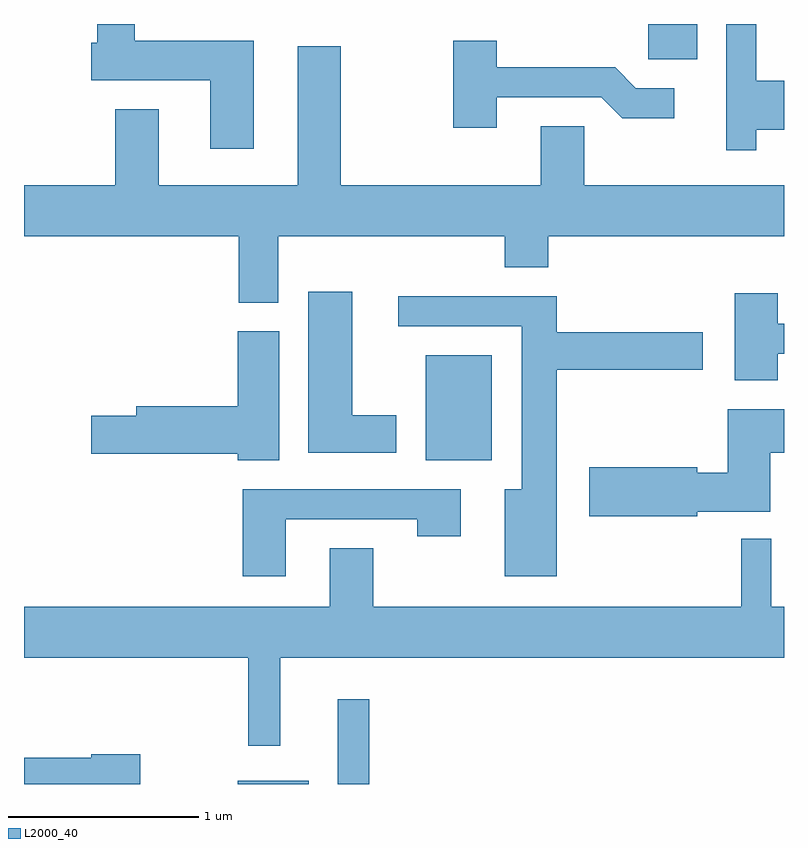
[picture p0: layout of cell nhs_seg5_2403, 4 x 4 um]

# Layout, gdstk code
import gdstk
lib = gdstk.Library(unit=1e-6, precision=1e-09)
def R(c, l, rs):  # rectangles x0, y0, x1, y1
    for r in rs: c.add(gdstk.rectangle(r[:2], r[2:], *l))
def P(c, l, *ps):  # polygons
    for p in ps: c.add(gdstk.Polygon(p, *l))
L2000_40 = (2000, 40)

nhs_seg5_2403 = lib.new_cell('nhs_seg5_2403')
R(nhs_seg5_2403, L2000_40, [(256.736,1516.072,257.109,1516.089), (257.261,1516.072,257.429,1516.518), (257.726,1517.776,258.074,1518.329), (258.896,1519.886,259.154,1520.072)])
P(nhs_seg5_2403, L2000_40, [(256.819,1519.984),(256.194,1519.984),(256.194,1520.072),(255.996,1520.072),(255.996,1519.974),(255.966,1519.974),(255.966,1519.776),(256.591,1519.776),(256.591,1519.416),(256.819,1519.416)],
  [(259.464,1519.516),(259.611,1519.516),(259.611,1519.774),(259.464,1519.774),(259.464,1520.072),(259.306,1520.072),(259.306,1519.408),(259.464,1519.408)],
  [(258.099,1519.686),(258.649,1519.686),(258.759,1519.576),(259.033,1519.576),(259.033,1519.734),(258.832,1519.734),(258.722,1519.844),(258.099,1519.844),(258.099,1519.984),(257.871,1519.984),(257.871,1519.526),(258.099,1519.526)],
  [(256.949,1518.956),(258.141,1518.956),(258.141,1518.791),(258.369,1518.791),(258.369,1518.956),(259.611,1518.956),(259.611,1519.224),(258.559,1519.224),(258.559,1519.534),(258.331,1519.534),(258.331,1519.224),(257.279,1519.224),(257.279,1519.954),(257.051,1519.954),(257.051,1519.224),(256.319,1519.224),(256.319,1519.624),(256.091,1519.624),(256.091,1519.224),(255.611,1519.224),(255.611,1518.956),(256.741,1518.956),(256.741,1518.606),(256.949,1518.606)],
  [(257.569,1518.014),(257.339,1518.014),(257.339,1518.664),(257.106,1518.664),(257.106,1517.816),(257.569,1517.816)],
  [(259.579,1518.336),(259.611,1518.336),(259.611,1518.494),(259.579,1518.494),(259.579,1518.654),(259.351,1518.654),(259.351,1518.196),(259.579,1518.196)],
  [(258.414,1518.251),(259.184,1518.251),(259.184,1518.449),(258.414,1518.449),(258.414,1518.639),(257.582,1518.639),(257.582,1518.481),(258.231,1518.481),(258.231,1517.624),(258.141,1517.624),(258.141,1517.166),(258.414,1517.166)],
  [(256.954,1518.454),(256.736,1518.454),(256.736,1518.059),(256.201,1518.059),(256.201,1518.009),(255.966,1518.009),(255.966,1517.811),(256.736,1517.811),(256.736,1517.776),(256.954,1517.776)],
  [(259.154,1517.506),(259.539,1517.506),(259.539,1517.816),(259.611,1517.816),(259.611,1518.044),(259.316,1518.044),(259.316,1517.709),(259.154,1517.709),(259.154,1517.739),(258.586,1517.739),(258.586,1517.481),(259.154,1517.481)],
  [(256.989,1517.466),(257.681,1517.466),(257.681,1517.376),(257.909,1517.376),(257.909,1517.624),(256.761,1517.624),(256.761,1517.166),(256.989,1517.166)],
  [(256.959,1516.736),(259.611,1516.736),(259.611,1517.004),(259.544,1517.004),(259.544,1517.363),(259.386,1517.363),(259.386,1517.004),(257.449,1517.004),(257.449,1517.314),(257.221,1517.314),(257.221,1517.004),(255.611,1517.004),(255.611,1516.736),(256.791,1516.736),(256.791,1516.273),(256.959,1516.273)],
  [(256.224,1516.229),(255.966,1516.229),(255.966,1516.209),(255.611,1516.209),(255.611,1516.072),(256.224,1516.072)])

lib.write_gds('nhs_seg5_2403.gds')
